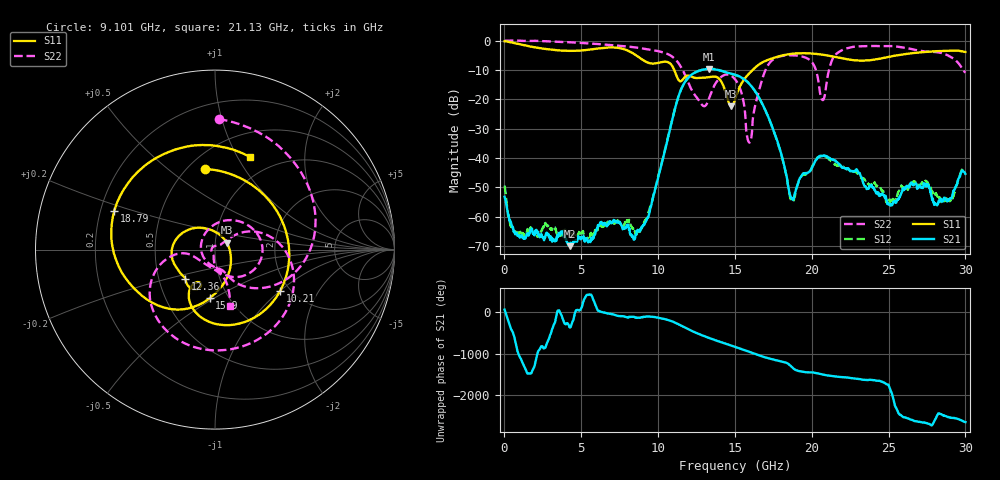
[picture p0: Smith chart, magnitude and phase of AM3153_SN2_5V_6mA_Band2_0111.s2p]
!Agilent Technologies,E8364B,MY43040894,A.07.50.67
!Agilent E8364B: A.07.50.67
!Date: Tuesday, May 12, 2020 09:51:20
!Correction: S11(Full 2 Port(1,2))
!S21(Full 2 Port(1,2))
!S12(Full 2 Port(1,2))
!S22(Full 2 Port(1,2))
!S2P File: Measurements: S11, S21, S12, S22:
# Hz S  dB  R 50
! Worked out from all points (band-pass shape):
!   1601 points, 10 MHz to 30 GHz, reference 50 ohm
!   highest |S21| = -9.64 dB at 13.34 GHz (marker M1); lowest = -70.1 dB at 4.246 GHz (marker M2)
!   |S21| within 3 dB of the highest: 11.97 GHz to 15.44 GHz (3.477 GHz wide, 25.4 % of centre)
!   lowest |S11| = -22.4 dB at 14.76 GHz (marker M3), VSWR 1.16, Z = 56.8 + j4.43 ohm
!   |S11| at or under -10 dB: 11.05 GHz to 16.15 GHz (5.099 GHz wide, 37.5 % of centre)
!   |S22| runs from -34.8 to 0.1 dB; largest |S21 - S12| = 0.007
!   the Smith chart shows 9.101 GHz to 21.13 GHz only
!   S11 on the Smith chart (normalised r, x): 9.101 GHz: 0.61, +0.69; 10.21 GHz: 1.79, -1.00; 12.36 GHz: 0.68, -0.24; 15.9 GHz: 0.82, -0.48; 18.79 GHz: 0.26, +0.17; 21.13 GHz: 0.76, +1.13
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1e7  -0.20 -6.2  -53.27 65.7  -49.44 105.2  -0.03 -1.6
9.84675e8  -1.27 -80.5  -66.79 4.7  -65.50 44.3  -0.02 -29.1
2.184275e9  -2.47 -158.5  -66.25 128.4  -66.78 -175.4  -0.11 -64.5
4.246088e9  -3.49 87.7  -70.12 -4.2  -65.31 -37.9  -0.56 -123.4
5.014581e9  -3.35 44.0  -66.90 112.3  -65.63 120.6  -0.80 -145.2
7.095138e9  -2.33 -88.6  -61.32 -52.1  -61.96 -71.5  -1.59 155.0
8.1073e9  -3.60 -166.4  -64.55 -106.5  -61.11 -153.0  -2.07 123.1
9.100719e9  -6.89 96.8  -62.77 -108.0  -61.75 -102.2  -2.76 88.3
1.001916e10  -7.57 -11.3  -46.42 -129.1  -45.92 -129.5  -3.61 49.8
1.02066e10  -7.33 -32.1  -42.53 -143.6  -42.20 -142.3  -3.85 40.7
1.236213e10  -12.67 -135.1  -10.98 -118.5  -10.95 -119.3  -18.34 -70.8
1.333681e10  -12.46 -157.0  -9.64 96.8  -9.58 96.4  -19.46 120.3
1.476133e10  -22.39 30.7  -11.27 -84.2  -11.32 -85.2  -12.00 -22.2
1.5005e10  -20.09 -26.5  -11.61 -114.8  -11.68 -115.5  -13.17 -40.7
1.59047e10  -11.31 -96.1  -14.55 125.7  -14.50 125.3  -34.59 158.1
1.708556e10  -6.69 -141.4  -24.98 -22.0  -25.02 -23.9  -8.98 6.2
1.879124e10  -4.42 159.1  -54.19 86.3  -54.88 85.8  -5.02 -91.5
2.000958e10  -4.41 114.6  -43.46 -13.6  -43.20 -12.6  -7.36 -147.9
2.113421e10  -5.16 69.4  -39.98 -93.8  -40.55 -93.4  -9.76 -75.4
2.291486e10  -6.76 -19.0  -43.91 -165.8  -44.98 -169.4  -2.00 -164.7
2.501416e10  -5.54 -131.8  -55.62 23.7  -54.57 -179.4  -1.86 134.6
3e10  -3.86 76.1  -45.44 -139.1  -43.43 -133.5  -10.95 -10.6
